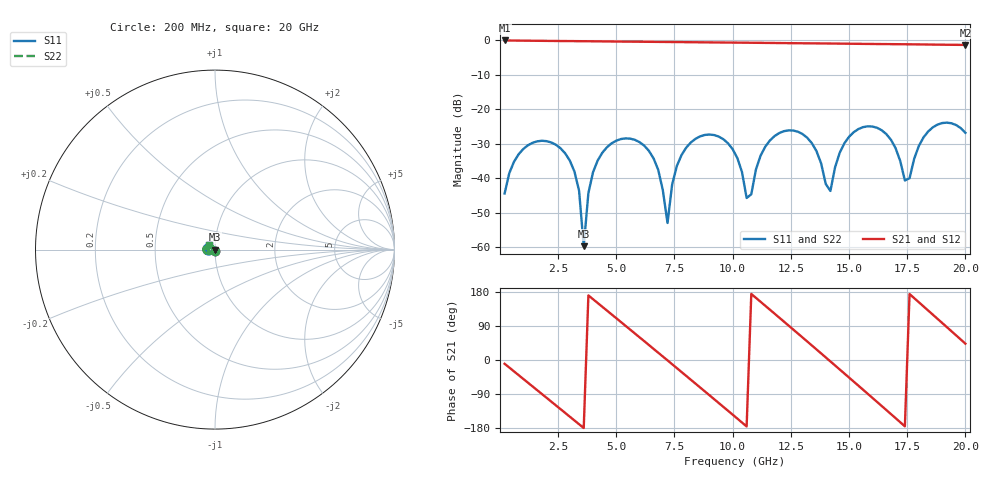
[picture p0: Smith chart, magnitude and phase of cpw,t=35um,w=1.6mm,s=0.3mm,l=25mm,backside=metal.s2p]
# HZ S RI R 50
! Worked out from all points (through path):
!   100 points, 200 MHz to 20 GHz, reference 50 ohm
!   highest |S21| = -0.02 dB at 200 MHz (marker M1); lowest = -1.3 dB at 20 GHz (marker M2)
!   group delay of S21, straight-line fit = 144 ps
!   lowest |S11| = -59.7 dB at 3.6 GHz (marker M3), VSWR 1.00, Z = 49.9 + j0.0287 ohm
!   |S11| at or under -10 dB: start of sweep to end of sweep
!   |S22| runs from -59.7 to -23.8 dB; largest |S21 - S12| = 0
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2e8  -0.00112 -0.00592  0.9826 -0.1725  0.9826 -0.1725  -0.00112 -0.00592
1e9  -0.0204 -0.017  0.6398 -0.7567  0.6398 -0.7567  -0.0204 -0.017
2.4e9  -0.0269 0.0149  -0.4834 -0.8533  -0.4834 -0.8533  -0.0269 0.0149
3.2e9  -0.00517 0.0115  -0.9137 -0.3416  -0.9137 -0.3416  -0.00517 0.0115
3.6e9  -0.000999 0.000287  -0.9728 -0.00795  -0.9728 -0.00795  -0.000999 0.000287
4e9  -0.00509 -0.0112  -0.9139 0.3251  -0.9139 0.3251  -0.00509 -0.0112
4.6e9  -0.0221 -0.0177  -0.6245 0.7364  -0.6245 0.7364  -0.0221 -0.0177
5.6e9  -0.0371 0.00627  0.1666 0.9439  0.1666 0.9439  -0.0371 0.00627
6.8e9  -0.00613 0.0118  0.8974 0.3146  0.8974 0.3146  -0.00613 0.0118
7.2e9  -0.00215 -0.000667  0.9482 -0.0165  0.9482 -0.0165  -0.00215 -0.000667
7.6e9  -0.00742 -0.0131  0.8806 -0.3443  0.8806 -0.3443  -0.00742 -0.0131
8.6e9  -0.0389 -0.0115  0.2837 -0.8941  0.2837 -0.8941  -0.0389 -0.0115
1.02e10  -0.0111 0.0163  -0.8382 -0.398  -0.8382 -0.398  -0.0111 0.0163
1.06e10  -0.00386 0.00347  -0.9222 -0.0758  -0.9222 -0.0758  -0.00386 0.00347
1.2e10  -0.0426 -0.0154  -0.3411 0.849  -0.3411 0.849  -0.0426 -0.0154
1.34e10  -0.0232 0.0227  0.7087 0.5642  0.7087 0.5642  -0.0232 0.0227
1.42e10  -0.00576 -0.00314  0.8989 -0.0593  0.8989 -0.0593  -0.00576 -0.00314
1.54e10  -0.0487 -0.0175  0.3396 -0.8242  0.3396 -0.8242  -0.0487 -0.0175
1.68e10  -0.0264 0.0249  -0.7011 -0.5358  -0.7011 -0.5358  -0.0264 0.0249
1.74e10  -0.00814 0.00452  -0.8755 -0.0759  -0.8755 -0.0759  -0.00814 0.00452
1.86e10  -0.0497 -0.0234  -0.4308 0.7549  -0.4308 0.7549  -0.0497 -0.0234
2e10  -0.0361 0.0281  0.6276 0.5877  0.6276 0.5877  -0.0361 0.0281
